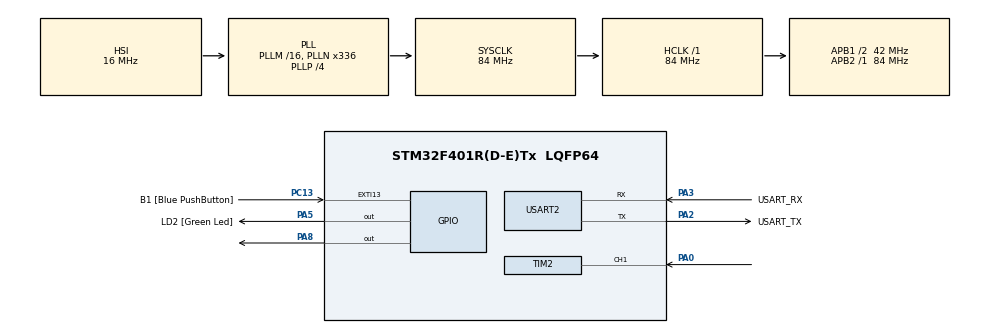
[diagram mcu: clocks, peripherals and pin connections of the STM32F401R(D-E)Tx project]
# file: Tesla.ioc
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Mcu.Family=STM32F4
Mcu.Name=STM32F401R(D-E)Tx
Mcu.Package=LQFP64
NVIC.PriorityGroup=NVIC_PRIORITYGROUP_0
NVIC.TIM2_IRQn=true\:0\:0\:false\:false\:true\:true\:true\:true
PA0-WKUP.Signal=S_TIM2_CH1_ETR
PA13.GPIO_Label=TMS
PA13.Mode=Serial_Wire
PA13.Signal=SYS_JTMS-SWDIO
PA14.GPIO_Label=TCK
PA14.Mode=Serial_Wire
PA14.Signal=SYS_JTCK-SWCLK
PA2.GPIO_Label=USART_TX
PA2.GPIO_Mode=GPIO_MODE_AF_PP
PA2.GPIO_PuPd=GPIO_NOPULL
PA2.GPIO_Speed=GPIO_SPEED_FREQ_LOW
PA2.Mode=Asynchronous
PA2.Signal=USART2_TX
PA3.GPIO_Label=USART_RX
PA3.GPIO_Mode=GPIO_MODE_AF_PP
PA3.GPIO_PuPd=GPIO_NOPULL
PA3.GPIO_Speed=GPIO_SPEED_FREQ_LOW
PA3.Mode=Asynchronous
PA3.Signal=USART2_RX
PA5.GPIO_Label=LD2 [Green Led]
PA5.GPIO_Mode=GPIO_MODE_OUTPUT_PP
PA5.GPIO_PuPd=GPIO_NOPULL
PA5.GPIO_Speed=GPIO_SPEED_FREQ_LOW
PA5.Signal=GPIO_Output
PA8.Signal=GPIO_Output
PB3.GPIO_Label=SWO
PB3.Signal=SYS_JTDO-SWO
PC13-ANTI_TAMP.GPIO_Label=B1 [Blue PushButton]
PC13-ANTI_TAMP.GPIO_ModeDefaultEXTI=GPIO_MODE_IT_FALLING
PC13-ANTI_TAMP.GPIO_PuPd=GPIO_NOPULL
PC13-ANTI_TAMP.Signal=GPXTI13
PC14-OSC32_IN.Mode=LSE-External-Oscillator
PC14-OSC32_IN.Signal=RCC_OSC32_IN
PC15-OSC32_OUT.Mode=LSE-External-Oscillator
PC15-OSC32_OUT.Signal=RCC_OSC32_OUT
PH0\ -\ OSC_IN.Mode=HSE-External-Clock-Source
PH0\ -\ OSC_IN.Signal=RCC_OSC_IN
PH1\ -\ OSC_OUT.Mode=HSE-External-Clock-Source
PH1\ -\ OSC_OUT.Signal=RCC_OSC_OUT
ProjectManager.HeapSize=0x200
ProjectManager.StackSize=0x400
ProjectManager.TargetToolchain=STM32CubeIDE
RCC.48MHZClocksFreq_Value=48000000
RCC.AHBFreq_Value=84000000
RCC.APB1CLKDivider=RCC_HCLK_DIV2
RCC.APB1Freq_Value=42000000
RCC.APB1TimFreq_Value=84000000
RCC.APB2Freq_Value=84000000
RCC.APB2TimFreq_Value=84000000
RCC.CortexFreq_Value=84000000
RCC.HCLKFreq_Value=84000000
RCC.HSE_VALUE=8000000
RCC.HSI_VALUE=16000000
RCC.PLLN=336
RCC.PLLP=RCC_PLLP_DIV4
RCC.PLLQ=7
RCC.SYSCLKFreq_VALUE=84000000
RCC.SYSCLKSource=RCC_SYSCLKSOURCE_PLLCLK
RCC.VCOOutputFreq_Value=336000000
SH.S_TIM2_CH1_ETR.0=TIM2_CH1,Input_Capture1_from_TI1
TIM2.Channel-Input_Capture1_from_TI1=TIM_CHANNEL_1
TIM2.ICPolarity_CH1=TIM_INPUTCHANNELPOLARITY_BOTHEDGE
TIM2.Prescaler=84
USART2.VirtualMode=VM_ASYNC
VP_TIM2_VS_ClockSourceINT.Mode=Internal
board=NUCLEO-F401RE

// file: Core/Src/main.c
/* USER CODE BEGIN Header */
/**
  ******************************************************************************
  * @file           : main.c
  * @brief          : Main program body
  ******************************************************************************
  * @attention
  *
  * Copyright (c) 2023 STMicroelectronics.
  * All rights reserved.
  *
  * This software is licensed under terms that can be found in the LICENSE file
  * in the root directory of this software component.
  * If no LICENSE file comes with this software, it is provided AS-IS.
  *
  ******************************************************************************
  */
/* USER CODE END Header */
#include "main.h"

/* USER CODE BEGIN PD */
#define TRIG_PIN GPIO_PIN_8 // Faudra brancher le pin "Trig" de l'ultrason sur le port PA8 qui sera en OUTPUT
#define TRIG_PORT GPIOA
/* USER CODE END PD */

TIM_HandleTypeDef htim2;

UART_HandleTypeDef huart2;

/* USER CODE BEGIN PV */
uint64_t IC_Val1 = 0;
uint64_t IC_Val2 = 0;
double Difference = 0;
uint8_t Is_First_Captured = 0;
double Distance = 0;
uint8_t DistanceCm = 0;
/* USER CODE END PV */

void SystemClock_Config(void);
static void MX_GPIO_Init(void);
static void MX_USART2_UART_Init(void);
static void MX_TIM2_Init(void);

/* USER CODE BEGIN 0 */
void HCSR04_Read(void) {
    HAL_GPIO_WritePin(TRIG_PORT, TRIG_PIN, GPIO_PIN_SET);
    HAL_Delay(10);
    HAL_GPIO_WritePin(TRIG_PORT, TRIG_PIN, GPIO_PIN_RESET);
    HAL_TIM_IC_Start_IT(&htim2, TIM_CHANNEL_1);
}

void HAL_TIM_IC_CaptureCallback(TIM_HandleTypeDef *htim) {
    if (Is_First_Captured == 0) {
        IC_Val1 = HAL_TIM_ReadCapturedValue(&htim2, TIM_CHANNEL_1);
        Is_First_Captured = 1;

    } else  {
        IC_Val2 = HAL_TIM_ReadCapturedValue(&htim2, TIM_CHANNEL_1);

        if (IC_Val2 > IC_Val1) {
            Difference = IC_Val2 - IC_Val1;
        } else {
            Difference = IC_Val1 - IC_Val2;
        }

        Difference = Difference / 1000000;
        Distance = Difference * 340 / 2;
        Distance = Distance * 100;
        DistanceCm = (uint8_t) Distance;
        Is_First_Captured = 0;
        TIM3->CNT = 0;
    }
}
/* USER CODE END 0 */

int main(void)
{

  /* MCU Configuration--------------------------------------------------------*/

  /* Reset of all peripherals, Initializes the Flash interface and the Systick. */
  HAL_Init();

  /* Configure the system clock */
  SystemClock_Config();

  /* Initialize all configured peripherals */
  MX_GPIO_Init();
  MX_USART2_UART_Init();
  MX_TIM2_Init();

  /* Infinite loop */
  /* USER CODE BEGIN WHILE */
  while (1)
  {
	  HCSR04_Read();
	  HAL_Delay(700);
    /* USER CODE END WHILE */

  }
}

void SystemClock_Config(void)
{
  RCC_OscInitTypeDef RCC_OscInitStruct = {0};
  RCC_ClkInitTypeDef RCC_ClkInitStruct = {0};

  /** Configure the main internal regulator output voltage
  */
  __HAL_RCC_PWR_CLK_ENABLE();
  __HAL_PWR_VOLTAGESCALING_CONFIG(PWR_REGULATOR_VOLTAGE_SCALE2);

  /** Initializes the RCC Oscillators according to the specified parameters
  * in the RCC_OscInitTypeDef structure.
  */
  RCC_OscInitStruct.OscillatorType = RCC_OSCILLATORTYPE_HSI;
  RCC_OscInitStruct.HSIState = RCC_HSI_ON;
  RCC_OscInitStruct.HSICalibrationValue = RCC_HSICALIBRATION_DEFAULT;
  RCC_OscInitStruct.PLL.PLLState = RCC_PLL_ON;
  RCC_OscInitStruct.PLL.PLLSource = RCC_PLLSOURCE_HSI;
  RCC_OscInitStruct.PLL.PLLM = 16;
  RCC_OscInitStruct.PLL.PLLN = 336;
  RCC_OscInitStruct.PLL.PLLP = RCC_PLLP_DIV4;
  RCC_OscInitStruct.PLL.PLLQ = 7;
  if (HAL_RCC_OscConfig(&RCC_OscInitStruct) != HAL_OK)
  {
    Error_Handler();
  }

  /** Initializes the CPU, AHB and APB buses clocks
  */
  RCC_ClkInitStruct.ClockType = RCC_CLOCKTYPE_HCLK|RCC_CLOCKTYPE_SYSCLK
                              |RCC_CLOCKTYPE_PCLK1|RCC_CLOCKTYPE_PCLK2;
  RCC_ClkInitStruct.SYSCLKSource = RCC_SYSCLKSOURCE_PLLCLK;
  RCC_ClkInitStruct.AHBCLKDivider = RCC_SYSCLK_DIV1;
  RCC_ClkInitStruct.APB1CLKDivider = RCC_HCLK_DIV2;
  RCC_ClkInitStruct.APB2CLKDivider = RCC_HCLK_DIV1;

  if (HAL_RCC_ClockConfig(&RCC_ClkInitStruct, FLASH_LATENCY_2) != HAL_OK)
  {
    Error_Handler();
  }
}

static void MX_TIM2_Init(void)
{

  TIM_ClockConfigTypeDef sClockSourceConfig = {0};
  TIM_MasterConfigTypeDef sMasterConfig = {0};
  TIM_IC_InitTypeDef sConfigIC = {0};

  htim2.Instance = TIM2;
  htim2.Init.Prescaler = 84;
  htim2.Init.CounterMode = TIM_COUNTERMODE_UP;
  htim2.Init.Period = 4294967295;
  htim2.Init.ClockDivision = TIM_CLOCKDIVISION_DIV1;
  htim2.Init.AutoReloadPreload = TIM_AUTORELOAD_PRELOAD_DISABLE;
  if (HAL_TIM_Base_Init(&htim2) != HAL_OK)
  {
    Error_Handler();
  }
  sClockSourceConfig.ClockSource = TIM_CLOCKSOURCE_INTERNAL;
  if (HAL_TIM_ConfigClockSource(&htim2, &sClockSourceConfig) != HAL_OK)
  {
    Error_Handler();
  }
  if (HAL_TIM_IC_Init(&htim2) != HAL_OK)
  {
    Error_Handler();
  }
  sMasterConfig.MasterOutputTrigger = TIM_TRGO_RESET;
  sMasterConfig.MasterSlaveMode = TIM_MASTERSLAVEMODE_DISABLE;
  if (HAL_TIMEx_MasterConfigSynchronization(&htim2, &sMasterConfig) != HAL_OK)
  {
    Error_Handler();
  }
  sConfigIC.ICPolarity = TIM_INPUTCHANNELPOLARITY_BOTHEDGE;
  sConfigIC.ICSelection = TIM_ICSELECTION_DIRECTTI;
  sConfigIC.ICPrescaler = TIM_ICPSC_DIV1;
  sConfigIC.ICFilter = 0;
  if (HAL_TIM_IC_ConfigChannel(&htim2, &sConfigIC, TIM_CHANNEL_1) != HAL_OK)
  {
    Error_Handler();
  }

}

static void MX_USART2_UART_Init(void)
{

  huart2.Instance = USART2;
  huart2.Init.BaudRate = 115200;
  huart2.Init.WordLength = UART_WORDLENGTH_8B;
  huart2.Init.StopBits = UART_STOPBITS_1;
  huart2.Init.Parity = UART_PARITY_NONE;
  huart2.Init.Mode = UART_MODE_TX_RX;
  huart2.Init.HwFlowCtl = UART_HWCONTROL_NONE;
  huart2.Init.OverSampling = UART_OVERSAMPLING_16;
  if (HAL_UART_Init(&huart2) != HAL_OK)
  {
    Error_Handler();
  }

}

static void MX_GPIO_Init(void)
{
  GPIO_InitTypeDef GPIO_InitStruct = {0};

  /* GPIO Ports Clock Enable */
  __HAL_RCC_GPIOC_CLK_ENABLE();
  __HAL_RCC_GPIOH_CLK_ENABLE();
  __HAL_RCC_GPIOA_CLK_ENABLE();
  __HAL_RCC_GPIOB_CLK_ENABLE();

  /*Configure GPIO pin Output Level */
  HAL_GPIO_WritePin(GPIOA, LD2_Pin|GPIO_PIN_8, GPIO_PIN_RESET);

  /*Configure GPIO pin : B1_Pin */
  GPIO_InitStruct.Pin = B1_Pin;
  GPIO_InitStruct.Mode = GPIO_MODE_IT_FALLING;
  GPIO_InitStruct.Pull = GPIO_NOPULL;
  HAL_GPIO_Init(B1_GPIO_Port, &GPIO_InitStruct);

  /*Configure GPIO pins : LD2_Pin PA8 */
  GPIO_InitStruct.Pin = LD2_Pin|GPIO_PIN_8;
  GPIO_InitStruct.Mode = GPIO_MODE_OUTPUT_PP;
  GPIO_InitStruct.Pull = GPIO_NOPULL;
  GPIO_InitStruct.Speed = GPIO_SPEED_FREQ_LOW;
  HAL_GPIO_Init(GPIOA, &GPIO_InitStruct);

}

void Error_Handler(void)
{
  __disable_irq();
  while (1)
  {
  }
}
